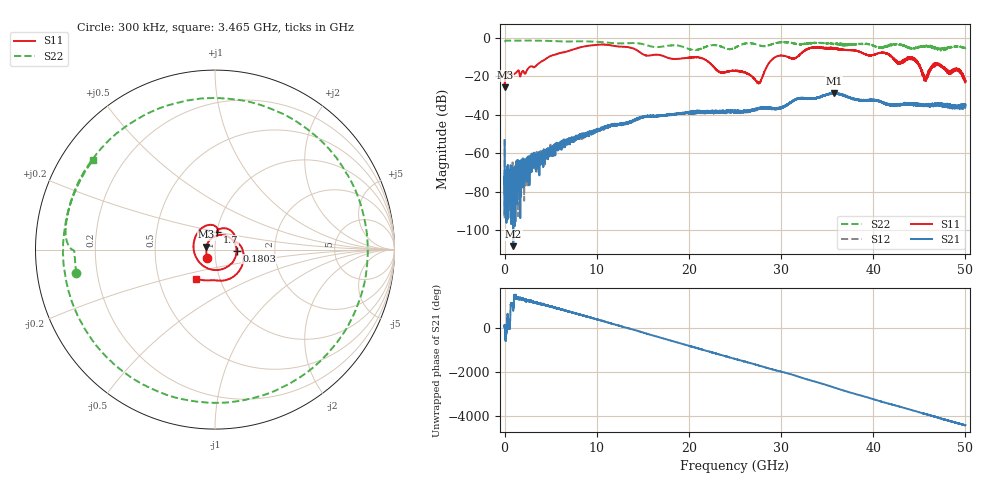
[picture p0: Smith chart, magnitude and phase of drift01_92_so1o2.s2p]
!Created with skrf (http://scikit-rf.org).
# Hz S RI R 50.0
!freq ReS11 ImS11 ReS21 ImS21 ReS12 ImS12 ReS22 ImS22
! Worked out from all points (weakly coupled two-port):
!   10001 points, 300 kHz to 50 GHz, reference 50 ohm
!   highest |S21| = -28.67 dB at 35.74 GHz (marker M1); lowest = -108.4 dB at 940.3 MHz (marker M2)
!   lowest |S11| = -25.8 dB at 5.3 MHz (marker M3), VSWR 1.11, Z = 45.3 + j1.41 ohm
!   |S11| at or under -10 dB: start of sweep to 4.769 GHz; 17.51 GHz to 29.39 GHz (11.87 GHz wide, 50.6 % of centre); 44.19 GHz to end of sweep (the widest 3 of 10)
!   |S22| runs from -6.6 to -1.4 dB; largest |S21 - S12| = 0.0036
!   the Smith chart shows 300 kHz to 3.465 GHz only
!   S11 on the Smith chart (normalised r, x): 300 kHz: 0.91, -0.08; 180.3 MHz: 1.27, -0.01; 1.7 GHz: 1.00, +0.20; 3.465 GHz: 0.77, -0.26
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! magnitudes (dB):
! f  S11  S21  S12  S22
! 300 kHz  -23.8  -53.5  -52.7  -2.1
! 5.3 MHz  -25.8  -81.0  -94.1  -2.1
! 180.3 MHz  -18.4  -71.3  -74.8  -1.4
! 255.3 MHz  -18.3  -76.1  -78.9  -1.4
! 940.3 MHz  -19.0  -108.4  -72.4  -1.5
! 1.7 GHz  -20.1  -93.8  -70.3  -1.4
! 3.465 GHz  -14.3  -67.2  -66.4  -1.5
! 8.335 GHz  -4.8  -50.8  -51.7  -1.8
! 16.67 GHz  -8.8  -40.8  -40.7  -4.8
! 25 GHz  -17.1  -39.0  -38.6  -5.1
! 27.59 GHz  -23.7  -36.5  -36.8  -3.8
! 29.28 GHz  -10.3  -37.0  -36.8  -2.8
! 31.45 GHz  -10.7  -32.4  -32.3  -2.9
! 33.34 GHz  -5.1  -31.9  -31.7  -2.7
! 35.74 GHz  -5.4  -28.7  -28.9  -2.9
! 41.67 GHz  -8.8  -34.4  -34.7  -4.2
! 42.75 GHz  -12.8  -34.7  -35.1  -3.4
! 44.4 GHz  -10.9  -35.0  -34.7  -5.3
! 45.63 GHz  -21.4  -35.1  -35.0  -4.3
! 46.96 GHz  -13.2  -34.7  -34.6  -5.8
! 49.21 GHz  -16.4  -36.0  -36.0  -4.5
! 50 GHz  -22.4  -34.9  -35.0  -5.4
